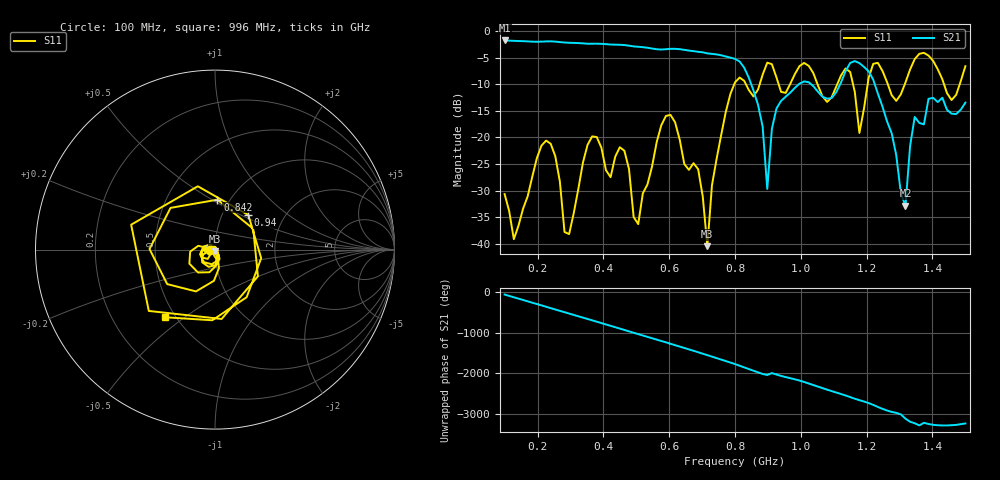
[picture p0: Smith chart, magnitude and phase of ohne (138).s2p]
! NanoVNA-App
! Date: 2025-09-25 14:21:52
! Start: 100MHz Stop: 1,5GHz Points: 101
! S-Parameter data: F S11 S21 S12 S22
# Hz S RI R 50
!  Frequency  S11_Real  S11_Imag  S21_Real  S21_Imag  S12_Real  S12_Imag  S22_Real  S22_Imag
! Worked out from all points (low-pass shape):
!   101 points, 100 MHz to 1.5 GHz, reference 50 ohm
!   highest |S21| = -1.79 dB at 100 MHz (marker M1); lowest = -32.8 dB at 1.318 GHz (marker M2)
!   |S21| within 3 dB of the highest: start of sweep to 771.2 MHz
!   lowest |S11| = -40.4 dB at 716 MHz (marker M3), VSWR 1.02, Z = 49.7 - j0.914 ohm
!   |S11| at or under -10 dB: start of sweep to 797.9 MHz; 833.1 MHz to 875.1 MHz (42 MHz wide, 4.92 % of centre); 1.051 GHz to 1.111 GHz (60.15 MHz wide, 5.57 % of centre) (the widest 3 of 7)
!   S12 and S22 are empty: the file has one direction only
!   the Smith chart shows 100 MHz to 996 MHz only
!   S11 on the Smith chart (normalised r, x): 100 MHz: 0.94, -0.01; 842 MHz: 0.88, +0.53; 940 MHz: 1.33, +0.55; 996 MHz: 0.44, -0.43
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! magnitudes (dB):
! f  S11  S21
! 100 MHz  -30.6  -1.8
! 128 MHz  -39.1  -1.9
! 226 MHz  -20.6  -2.0
! 296 MHz  -38.2  -2.2
! 338 MHz  -24.7  -2.3
! 464 MHz  -22.5  -2.7
! 506 MHz  -36.3  -3.0
! 576 MHz  -17.7  -3.5
! 688 MHz  -26.0  -3.9
! 716 MHz  -40.4  -4.2
! 800 MHz  -9.7  -5.3
! 842 MHz  -11.1  -8.8
! 898 MHz  -6.0  -29.7
! 940 MHz  -11.4  -13.1
! 996 MHz  -6.6  -9.9
! 1.038 GHz  -7.9  -10.4
! 1.178 GHz  -19.2  -6.0
! 1.22 GHz  -6.2  -9.2
! 1.276 GHz  -12.1  -19.2
! 1.318 GHz  -9.7  -32.8
! 1.346 GHz  -5.3  -16.2
! 1.5 GHz  -6.6  -13.5
